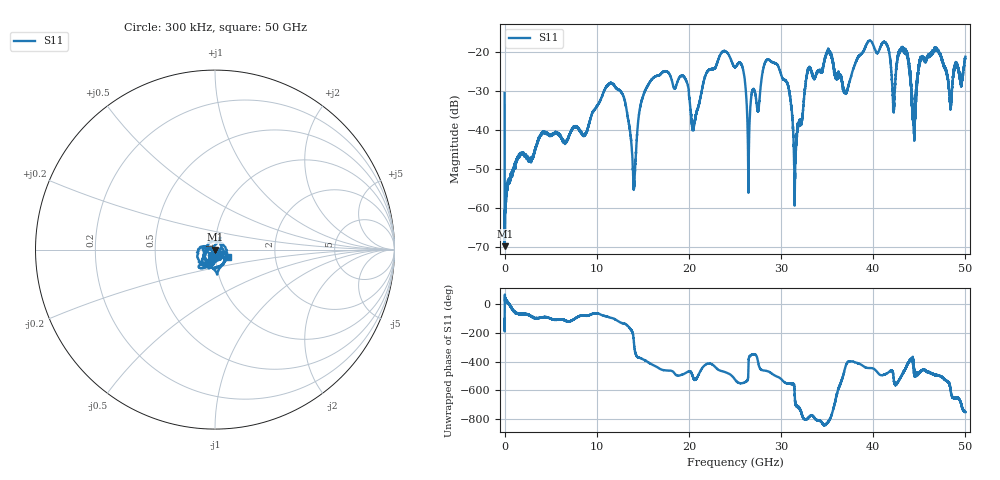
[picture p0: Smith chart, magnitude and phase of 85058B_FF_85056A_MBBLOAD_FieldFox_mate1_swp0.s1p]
!Created with skrf (http://scikit-rf.org).
# Hz S RI R 50.0
!freq ReS11 ImS11
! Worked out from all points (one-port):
!   10001 points, 300 kHz to 50 GHz, reference 50 ohm
!   lowest |S11| = -69.9 dB at 5.3 MHz (marker M1), VSWR 1.00, Z = 50 + j0.0057 ohm
!   |S11| at or under -10 dB: start of sweep to end of sweep
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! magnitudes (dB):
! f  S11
! 300 kHz  -30.6
! 5.3 MHz  -69.9
! 255.3 MHz  -54.8
! 6.25 GHz  -42.4
! 12.5 GHz  -29.9
! 14.04 GHz  -54.3
! 15.39 GHz  -29.3
! 18.75 GHz  -27.7
! 20.51 GHz  -39.6
! 22.04 GHz  -24.9
! 25 GHz  -23.9
! 25.86 GHz  -24.4
! 26.49 GHz  -47.9
! 28.29 GHz  -22.6
! 29.52 GHz  -23.1
! 31.25 GHz  -37.4
! 31.58 GHz  -44.8
! 35.05 GHz  -20.2
! 37.5 GHz  -27.2
! 39.57 GHz  -17.2
! 41.46 GHz  -18.1
! 42.21 GHz  -34.9
! 43.75 GHz  -21.6
! 44.42 GHz  -41.1
! 45.26 GHz  -21.7
! 47 GHz  -19.5
! 48.38 GHz  -33.7
! 50 GHz  -21.3
